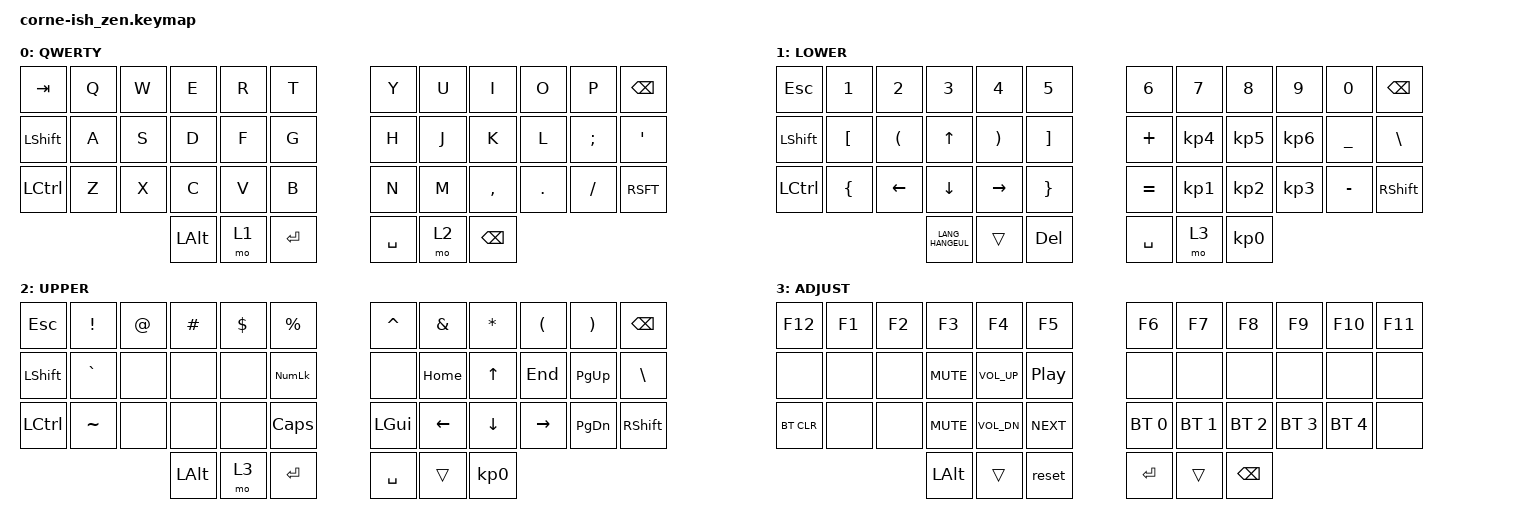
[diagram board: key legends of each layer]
/*
*
* Copyright (c) 2021 lowprokb.ca
* SPDX-License-Identifier: MIT
*
*/

#include <behaviors.dtsi>
#include <dt-bindings/zmk/keys.h>
#include <dt-bindings/zmk/bt.h>

#define QWERTY 0
#define LOWER 1
#define UPPER 2
#define ADJUST 3

/ {
        keymap {
                compatible = "zmk,keymap";

                default_layer {
                        label = "QWERTY";
                        bindings = <
   &kp TAB   &kp Q &kp W &kp E &kp R &kp T    &kp Y &kp U &kp I    &kp O   &kp P    &kp BKSP
   &kp LSHFT &kp A &kp S &kp D &kp F &kp G    &kp H &kp J &kp K    &kp L   &kp SCLN &kp QUOT
   &kp LCTRL &kp Z &kp X &kp C &kp V &kp B    &kp N &kp M &kp CMMA &kp DOT &kp FSLH &kp RSFT
                   &kp LALT  &mo 1   &kp RET  &kp SPC   &mo 2   &kp BKSP
                        >;
                };

                lower_layer {
                        label = "LOWER";
                        bindings = < 
   &kp ESC     &kp NUM_1 &kp NUM_2 &kp NUM_3 &kp NUM_4 &kp NUM_5             &kp NUM_6 &kp NUM_7 &kp NUM_8 &kp NUM_9 &kp NUM_0 &kp BSPC
   &kp LSHFT   &kp LBKT  &kp LPAR  &kp UP    &kp RPAR  &kp RBKT              &kp PLUS  &kp KP_N4 &kp KP_N5 &kp KP_N6 &kp UNDER &kp BSLH
   &kp LCTRL   &kp LBRC  &kp LEFT  &kp DOWN  &kp RIGHT &kp RBRC              &kp EQUAL &kp KP_N1 &kp KP_N2 &kp KP_N3 &kp MINUS &kp RSHFT
                           &kp LANG_HANGEUL  &trans    &kp DEL               &kp SPC   &mo 3     &kp KP_N0
                        >;
                };

                upper_layer {
                        label = "UPPER";
                        bindings = < 
   &kp ESC     &kp EXCL  &kp AT    &kp HASH  &kp DLLR  &kp PRCNT                    &kp CARET &kp AMPS  &kp ASTRK &kp LPAR  &kp RPAR  &kp BSPC
   &kp LSHFT   &kp GRAVE &none     &none     &none     &kp KP_NLCK                  &none     &kp HOME  &kp UP    &kp END   &kp PG_UP &kp BSLH
   &kp LCTRL   &kp TILDE &none     &none     &none     &kp CAPS                     &kp LGUI  &kp LEFT  &kp DOWN  &kp RIGHT &kp PG_DN &kp RSHFT
                                 &kp LALT    &mo 3     &kp RET                      &kp SPC   &trans    &kp KP_N0
                        >;
                };

                adjust_layer {
                        label = "ADJUST";
                        bindings = <
   &kp F12     &kp F1  &kp F2   &kp F3           &kp F4    &kp F5                  &kp F6          &kp F7        &kp F8        &kp F9         &kp F10       &kp F11
   &none       &none   &none    &kp C_MUTE      &kp C_VOL_UP  &kp C_PP             &none           &none         &none         &none          &none         &none
   &bt BT_CLR  &none   &none    &kp K_MUTE      &kp C_VOL_DN  &kp C_NEXT           &bt BT_SEL 0    &bt BT_SEL 1  &bt BT_SEL 2  &bt BT_SEL 3   &bt BT_SEL 4  &none
                                &kp LALT         &trans    &reset                  &kp RET         &trans        &kp BSPC
                        >;
                };
        };
};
